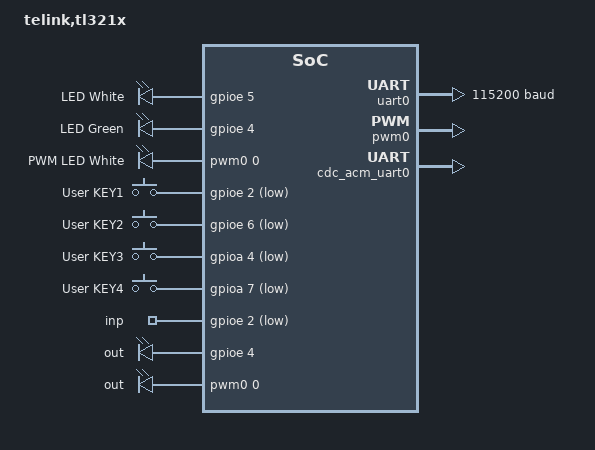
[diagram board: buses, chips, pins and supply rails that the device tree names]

/ {
	model = "telink,tl321x";
	compatible = "telink,tl3218x";
    
	chosen {
		zephyr,console = &cdc_acm_uart0;
		zephyr,shell-uart = &cdc_acm_uart0;
	};

    aliases {
        /delete-property/ mcuboot-button0;
		pwm-led0 = &pwm_led_white;
		pwm-0 = &pwm0;
    };

    leds {
        compatible = "gpio-leds";

		led_white: led_0 {
            gpios = <&gpioe 5 GPIO_ACTIVE_HIGH>;
            label = "LED White";
        };

		led_green: led_1 {
            gpios = <&gpioe 4 GPIO_ACTIVE_HIGH>;
            label = "LED Green";
        };

    };

	/delete-node/ pwm_leds;

	pwm_leds {
		compatible = "pwm-leds";

		pwm_led_white: pwm_led_0 {
			pwms = <&pwm0 0 PWM_MSEC(20) PWM_POLARITY_NORMAL>;
			label = "PWM LED White";
		};
	};

    keys {
        compatible = "gpio-keys";

        key_1: button_1 {
            label = "User KEY1";
            gpios = <&gpioe 2 (GPIO_ACTIVE_LOW | GPIO_PULL_UP)>;
        };

        key_2: button_2 {
            label = "User KEY2";
            gpios = <&gpioe 6 (GPIO_ACTIVE_LOW | GPIO_PULL_UP)>;
        };

        key_3: button_3 {
            label = "User KEY3";
            gpios = <&gpioa 4 (GPIO_ACTIVE_LOW | GPIO_PULL_UP)>;
        };

        key_4: button_4 {
            label = "User KEY4";
            gpios = <&gpioa 7 (GPIO_ACTIVE_LOW | GPIO_PULL_UP)>;
        };

    };

    /* Short TL_Key3 (J6 pin 31) to ground */
	key_pool {
		compatible = "gpio-keys";

		inp {
			gpios = <&gpioe 2 (GPIO_ACTIVE_LOW | GPIO_PULL_UP)>,
				<&gpioe 6 (GPIO_ACTIVE_LOW | GPIO_PULL_UP)>;
		};
	};

    led_pool {
		compatible = "gpio-leds";

		out {
			gpios = <&gpioe 4 GPIO_ACTIVE_HIGH>,
                    <&gpioe 5 GPIO_ACTIVE_HIGH>;
		};
	};

	pwm_pool {
		compatible = "pwm-leds";
		out {
			pwms = <&pwm0 0 PWM_MSEC(20) PWM_POLARITY_NORMAL>,
				<&pwm0 1 PWM_MSEC(20) PWM_POLARITY_NORMAL>,
				<&pwm0 2 PWM_MSEC(20) PWM_POLARITY_NORMAL>,
				<&pwm0 3 PWM_MSEC(20) PWM_POLARITY_NORMAL>;
		};
	};
};

&uart0 {
	status = "okay";
	current-speed = <115200>;
	pinctrl-0 = <&uart0_tx_pb6_default &uart0_rx_pb7_default>;
	pinctrl-names = "default";
};

&pwm0 {
	status = "okay";
	clock-frequency = <300000>;
	pinctrl-ch3 = <&pwm_ch3_pe5_default>;
};

&pinctrl {
	/* Set pad-mul-sel register value.
	 * Note: Pins functions below (pinmux = <...>) depend on this value.
	 */
	pad-mul-sel = <1>;

	/* UART0: TX(PB6), RX(PB7) */

	uart0_tx_pb6_default: uart0_tx_pb6_default {
		pinmux = <TLX_PINMUX_SET(TLX_PORT_B, TLX_PIN_6,
			(TL321X_FUNC_UART0_TX | TLX_PULL_UP))>;
	};
	uart0_rx_pb7_default: uart0_rx_pb7_default {
		pinmux = <TLX_PINMUX_SET(TLX_PORT_B, TLX_PIN_7,
			(TL321X_FUNC_UART0_RTX_IO | TLX_PULL_UP))>;
	};

	/* PWM Channel 3 (PE5) */
	pwm_ch3_pe5_default: pwm_ch3_pe5_default {
		pinmux = <TLX_PINMUX_SET(TLX_PORT_E, TLX_PIN_5, TL321X_FUNC_PWM3)>;
	};

};

/* USB configuration (Disable it if need full logging) */
&zephyr_udc0 {
	cdc_acm_uart0: cdc_acm_uart0 {
		compatible = "zephyr,cdc-acm-uart";
	};
};
